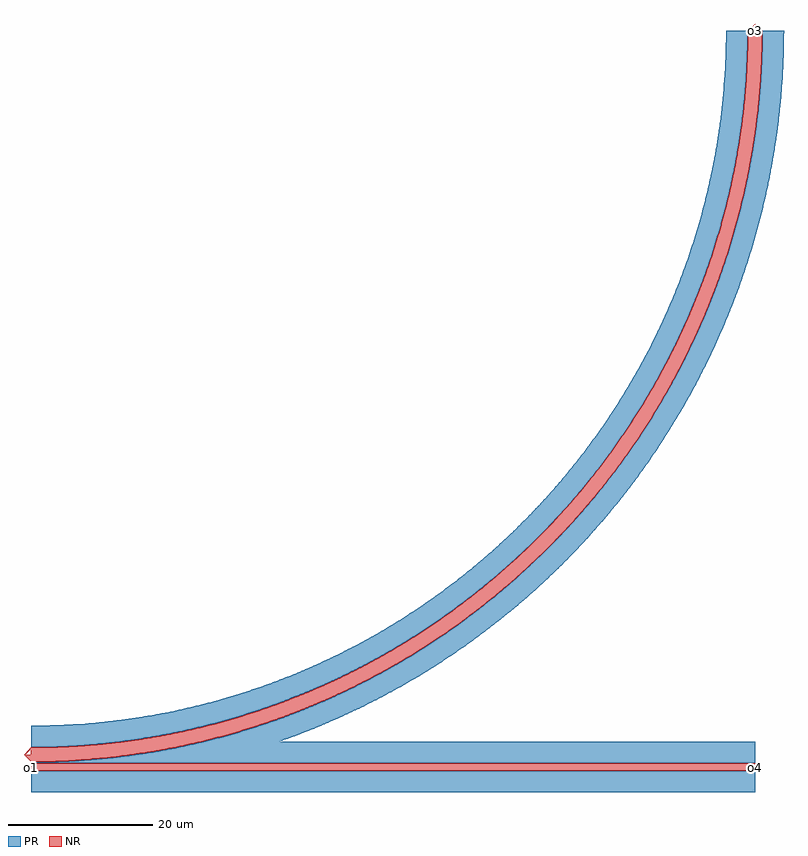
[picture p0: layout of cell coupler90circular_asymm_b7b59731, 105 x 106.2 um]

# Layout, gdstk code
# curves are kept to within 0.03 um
import gdstk
lib = gdstk.Library(unit=1e-6, precision=1e-09)
def R(c, l, rs):  # rectangles x0, y0, x1, y1
    for r in rs: c.add(gdstk.rectangle(r[:2], r[2:], *l))
def P(c, l, *ps):  # polygons
    for p in ps: c.add(gdstk.Polygon(p, *l))
PR = (60, 0)
NR = (61, 0)

ps_19 = lib.new_cell('ps_19')
R(ps_19, PR, [(0,-3.5,100,-0.5)])
P(ps_19, PR, [(0,0.5),(0,0.7),(3.051,0.746),(5.844,0.869),(8.381,1.048),(11.417,1.347),(15.951,1.967),(20.203,2.741),(24.911,3.82),(29.562,5.123),(33.906,6.561),(38.416,8.291),(42.608,10.127),(45.127,11.342),(47.162,12.387),(51.378,14.744),(55.477,17.3),(59.449,20.049),(61.485,21.571),(63.482,23.144),(66.975,26.1),(70.513,29.389),(73.716,32.657),(76.603,35.874),(79.506,39.411),(82.393,43.284),(84.954,47.076),(87.469,51.2),(89.549,54.988),(91.68,59.323),(92.818,61.878),(93.791,64.226),(94.704,66.599),(95.64,69.235),(96.427,71.652),(97.222,74.333),(97.88,76.789),(98.588,79.757),(99.109,82.245),(99.651,85.248),(100.034,87.761),(100.409,90.789),(100.693,93.826),(100.859,96.363),(100.968,99.158),(101,101.7),(104,101.7),(103.916,97.512),(103.684,93.592),(103.304,89.684),(102.736,85.534),(102.002,81.411),(101.163,77.574),(100.25,74.025),(99.134,70.26),(97.788,66.294),(96.479,62.87),(94.838,59.017),(93.159,55.467),(91.222,51.754),(89.271,48.346),(86.907,44.575),(84.688,41.335),(82.349,38.181),(79.893,35.118),(77.322,32.149),(74.459,29.092),(71.475,26.153),(68.375,23.336),(65.368,20.811),(62.268,18.401),(59.079,16.11),(55.806,13.94),(52.453,11.896),(48.794,9.857),(45.057,7.967),(41.726,6.437),(38.1,4.93),(34.244,3.5),(100,3.5),(100,0.5)],
  [(0,2.7),(0,5.7),(2.416,5.73),(5.073,5.834),(7.725,6.011),(10.131,6.236),(12.77,6.553),(15.399,6.943),(17.78,7.361),(20.385,7.889),(22.74,8.432),(25.313,9.097),(27.636,9.764),(30.171,10.564),(32.91,11.517),(35.169,12.374),(37.629,13.382),(39.84,14.357),(43.54,16.141),(47.371,18.201),(50.9,20.304),(54.733,22.831),(58.249,25.391),(61.646,28.108),(64.738,30.813),(67.711,33.647),(70.561,36.606),(73.437,39.869),(76.015,43.067),(78.731,46.769),(81.009,50.187),(83.259,53.909),(85.449,57.945),(87.242,61.64),(88.318,64.071),(89.326,66.531),(90.183,68.79),(91.136,71.529),(91.936,74.064),(92.603,76.387),(93.268,78.96),(93.811,81.315),(94.339,83.92),(94.757,86.301),(95.147,88.93),(95.464,91.569),(95.689,93.975),(95.866,96.627),(95.97,99.284),(96,101.7),(99,101.7),(98.969,99.208),(98.875,96.718),(98.718,94.231),(98.499,91.748),(97.947,87.297),(97.553,84.836),(97.098,82.386),(96.581,79.948),(96.003,77.524),(94.737,72.962),(93.255,68.465),(92.389,66.129),(91.464,63.814),(90.481,61.524),(89.442,59.259),(87.31,55.032),(85.107,51.125),(83.807,48.999),(82.454,46.906),(79.74,43.026),(78.238,41.038),(76.686,39.088),(75.086,37.178),(73.438,35.308),(71.915,33.661),(70.004,31.696),(68.039,29.785),(66.392,28.262),(64.522,26.614),(62.612,25.014),(60.662,23.462),(58.674,21.96),(54.794,19.246),(52.701,17.893),(50.575,16.593),(46.668,14.39),(42.441,12.258),(40.176,11.219),(37.886,10.236),(35.571,9.311),(33.235,8.445),(28.738,6.963),(24.176,5.697),(21.752,5.119),(19.314,4.602),(16.864,4.147),(14.403,3.753),(9.952,3.201),(7.469,2.982),(4.982,2.825),(2.492,2.731)])

ng_17 = lib.new_cell('ng_17')
R(ng_17, NR, [(0,-0.5,100,0.5)])
P(ng_17, NR, [(0,0.7),(0,2.7),(2.492,2.731),(4.982,2.825),(7.718,3.001),(10.2,3.227),(12.922,3.547),(15.389,3.903),(18.09,4.367),(20.535,4.853),(23.45,5.517),(25.623,6.073),(28.261,6.819),(30.403,7.484),(32.765,8.279),(35.106,9.133),(37.425,10.046),(39.72,11.017),(44.01,13.02),(47.982,15.105),(51.855,17.367),(55.828,19.942),(59.673,22.705),(63.381,25.648),(66.761,28.597),(70.004,31.696),(73.103,34.939),(76.052,38.319),(78.995,42.027),(81.758,45.872),(84.333,49.845),(86.595,53.718),(88.68,57.69),(90.683,61.98),(91.654,64.275),(92.567,66.594),(93.421,68.935),(94.216,71.297),(94.881,73.439),(95.627,76.077),(96.183,78.25),(96.847,81.165),(97.333,83.61),(97.797,86.311),(98.153,88.778),(98.473,91.5),(98.699,93.982),(98.875,96.718),(98.969,99.208),(99,101.7),(101,101.7),(100.968,99.158),(100.872,96.617),(100.514,91.8),(100.233,89.273),(99.888,86.754),(99.109,82.245),(98.588,79.757),(98.004,77.282),(97.426,75.068),(96.651,72.381),(95.139,67.794),(94.255,65.41),(93.312,63.049),(91.357,58.632),(89.194,54.313),(87.973,52.083),(86.696,49.885),(85.5,47.934),(83.978,45.587),(82.686,43.699),(81.048,41.432),(78.074,37.626),(76.437,35.681),(74.751,33.778),(71.418,30.282),(67.922,26.949),(66.019,25.263),(64.074,23.626),(60.268,20.652),(58.001,19.014),(56.113,17.722),(53.766,16.2),(51.815,15.004),(49.617,13.727),(47.387,12.506),(43.068,10.343),(38.651,8.388),(36.29,7.445),(33.906,6.561),(29.319,5.049),(26.632,4.274),(24.418,3.696),(21.943,3.112),(19.455,2.591),(14.946,1.812),(12.427,1.467),(9.9,1.186),(5.083,0.828),(2.542,0.732)])

ps_6 = lib.new_cell('ps_6')

ng_4 = lib.new_cell('ng_4')

bend_circular_r100_a90__ = lib.new_cell('bend_circular_R100_A90__91a25bea$1')

bend_circular_r100_a90_w = lib.new_cell('bend_circular_R100_A90_W2_B3')
bend_circular_r100_a90_w.add(gdstk.Reference(ps_6, (0,0)))
bend_circular_r100_a90_w.add(gdstk.Reference(ng_4, (0,0)))
bend_circular_r100_a90_w.add(gdstk.Reference(bend_circular_r100_a90__, (0,0)))

ps_13 = lib.new_cell('ps_13')

straight_l100_n2_cspos__ = lib.new_cell('straight_L100_N2_CSpos__035c8c2a$1')

ng_11 = lib.new_cell('ng_11')

straight_l100_w1_b3 = lib.new_cell('straight_L100_W1_B3')
straight_l100_w1_b3.add(gdstk.Reference(ps_13, (0,0)))
straight_l100_w1_b3.add(gdstk.Reference(straight_l100_n2_cspos__, (0,0)))
straight_l100_w1_b3.add(gdstk.Reference(ng_11, (0,0)))

unnamed_0_1 = lib.new_cell('Unnamed_0$1')
unnamed_0_1.add(gdstk.Reference(bend_circular_r100_a90_w, (0,1.7)))
unnamed_0_1.add(gdstk.Reference(straight_l100_w1_b3, (0,0)))

coupler90circular_asymm_ = lib.new_cell('coupler90circular_asymm_b7b59731')
P(coupler90circular_asymm_, NR, [(0,-0.5),(-0.5,0),(-0.125,0.375),(-0.05,0.375),(-0.43,0),(-0.05,0),(-0.05,0.375),(-0.125,0.375),(0,0.5)],
  [(100,-0.5),(100,0),(100.05,0),(100.05,-0.375),(100.43,0),(100,0),(100,0.5),(100.5,0)],
  [(0,0.7),(-1,1.7),(-0.25,2.45),(-0.1,2.45),(-0.859,1.7),(-0.1,1.7),(-0.1,2.45),(-0.25,2.45),(0,2.7)],
  [(99,101.7),(99.859,102.559),(100,102.559),(100,101.8),(100.75,101.8),(100,102.559),(99.859,102.559),(100,102.7),(101,101.7)])
coupler90circular_asymm_.add(gdstk.Reference(ps_19, (0,0)))
coupler90circular_asymm_.add(gdstk.Reference(ng_17, (0,0)))
coupler90circular_asymm_.add(gdstk.Reference(unnamed_0_1, (0,0)))
coupler90circular_asymm_.add(gdstk.Label('o1', (0,0), layer=61, texttype=0))
coupler90circular_asymm_.add(gdstk.Label('o2', (0,1.7), layer=61, texttype=0))
coupler90circular_asymm_.add(gdstk.Label('o4', (100,0), layer=61, texttype=0))
coupler90circular_asymm_.add(gdstk.Label('o3', (100,101.7), layer=61, texttype=0))

lib.write_gds('coupler90circular_asymm_b7b59731.gds')
